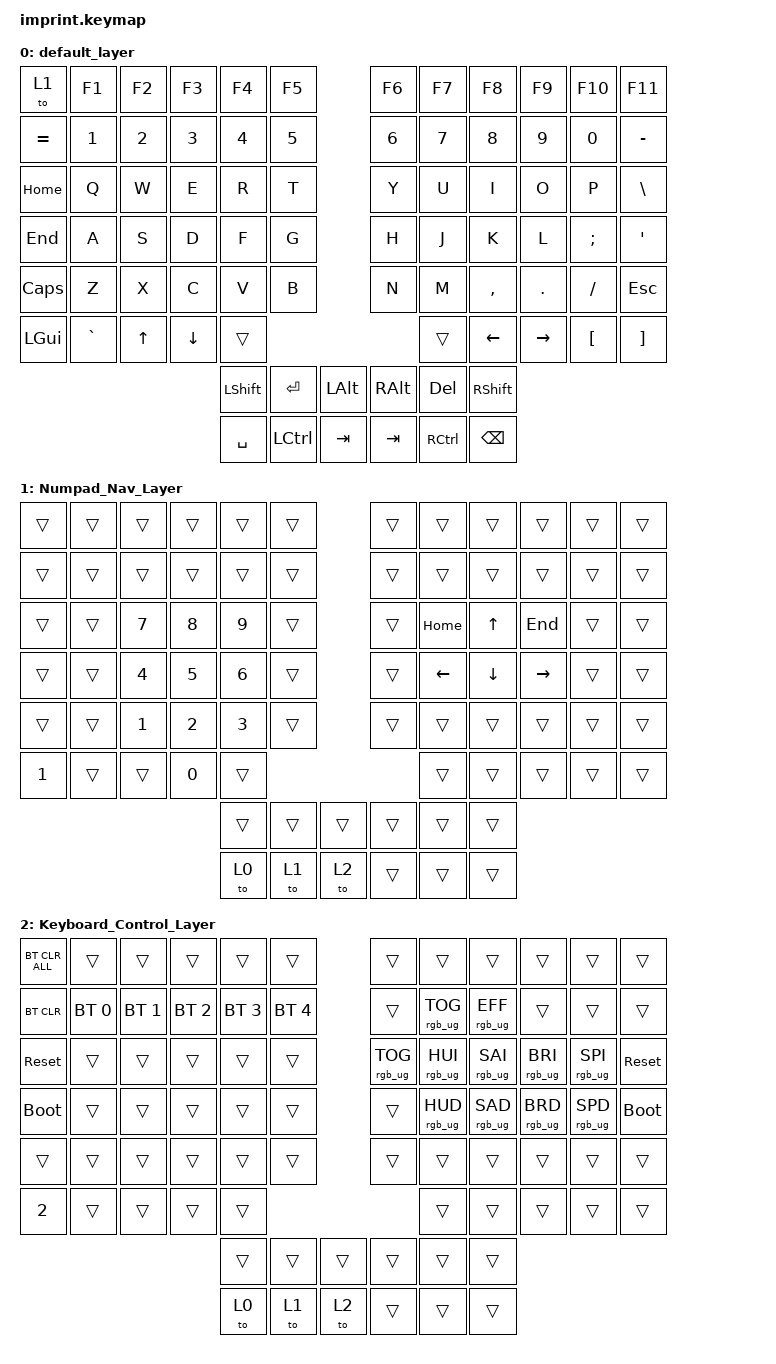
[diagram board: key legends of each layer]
#include <input/processors.dtsi>
#include <dt-bindings/zmk/input_transform.h>
#include <behaviors.dtsi>
#include <dt-bindings/zmk/bt.h>
#include <dt-bindings/zmk/keys.h>
#include <dt-bindings/zmk/rgb.h>

/ {
    chosen { zmk,matrix-transform = &imprint_function_row_full_bottom_row; };

    keymap {
        compatible = "zmk,keymap";

        default_layer {
            bindings = <
&to 1         &kp F1     &kp F2  &kp F3          &kp F4     &kp F5                 &kp F6    &kp F7      &kp F8         &kp F9     &kp F10           &kp F11
&kp EQUAL     &kp N1     &kp N2  &kp N3          &kp N4     &kp N5                 &kp N6    &kp N7      &kp N8         &kp N9     &kp N0            &kp MINUS
&kp HOME      &kp Q      &kp W   &kp E           &kp R      &kp T                  &kp Y     &kp U       &kp I          &kp O      &kp P             &kp BSLH
&kp END       &kp A      &kp S   &kp D           &kp F      &kp G                  &kp H     &kp J       &kp K          &kp L      &kp SEMI          &kp SQT
&kp CAPS      &kp Z      &kp X   &kp C           &kp V      &kp B                  &kp N     &kp M       &kp COMMA      &kp DOT    &kp FSLH          &kp ESCAPE
&kp LEFT_GUI  &kp GRAVE  &kp UP  &kp DOWN_ARROW  &trans                                      &trans      &kp LEFT       &kp RIGHT  &kp LEFT_BRACKET  &kp RIGHT_BRACKET
                                                 &kp LSHFT  &kp ENTER  &kp LALT    &kp RALT  &kp DELETE  &kp RSHIFT
                                                 &kp SPACE  &kp LCTRL  &kp TAB     &kp TAB   &kp RCTRL   &kp BACKSPACE
            >;
        };

        Numpad_Nav_Layer {
            bindings = <
&trans        &trans  &trans  &trans  &trans  &trans            &trans  &trans    &trans    &trans     &trans  &trans
&trans        &trans  &trans  &trans  &trans  &trans            &trans  &trans    &trans    &trans     &trans  &trans
&trans        &trans  &kp N7  &kp N8  &kp N9  &trans            &trans  &kp HOME  &kp UP    &kp END    &trans  &trans
&trans        &trans  &kp N4  &kp N5  &kp N6  &trans            &trans  &kp LEFT  &kp DOWN  &kp RIGHT  &trans  &trans
&trans        &trans  &kp N1  &kp N2  &kp N3  &trans            &trans  &trans    &trans    &trans     &trans  &trans
&kp NUMBER_1  &trans  &trans  &kp N0  &trans                            &trans    &trans    &trans     &trans  &trans
                                      &trans  &trans  &trans    &trans  &trans    &trans
                                      &to 0   &to 1   &to 2     &trans  &trans    &trans
            >;
        };

        Keyboard_Control_Layer {
            bindings = <
&bt BT_CLR_ALL  &trans        &trans        &trans        &trans        &trans                  &trans           &trans           &trans           &trans           &trans           &trans
&bt BT_CLR      &bt BT_SEL 0  &bt BT_SEL 1  &bt BT_SEL 2  &bt BT_SEL 3  &bt BT_SEL 4            &trans           &rgb_ug RGB_TOG  &rgb_ug RGB_EFF  &trans           &trans           &trans
&sys_reset      &trans        &trans        &trans        &trans        &trans                  &rgb_ug RGB_TOG  &rgb_ug RGB_HUI  &rgb_ug RGB_SAI  &rgb_ug RGB_BRI  &rgb_ug RGB_SPI  &sys_reset
&bootloader     &trans        &trans        &trans        &trans        &trans                  &trans           &rgb_ug RGB_HUD  &rgb_ug RGB_SAD  &rgb_ug RGB_BRD  &rgb_ug RGB_SPD  &bootloader
&trans          &trans        &trans        &trans        &trans        &trans                  &trans           &trans           &trans           &trans           &trans           &trans
&kp NUMBER_2    &trans        &trans        &trans        &trans                                                 &trans           &trans           &trans           &trans           &trans
                                                          &trans        &trans        &trans    &trans           &trans           &trans
                                                          &to 0         &to 1         &to 2     &trans           &trans           &trans
            >;
        };
    };
};

// right hand trackball configuration
// &trackball_peripheral_listener {
//    input-processors =
//     activate layer 3 within 500ms of the trackball moving
//     <&zip_temp_layer 3 500>;
// };
//left hand trackball configuration

&trackball_central_listener {
    input-processors =
        // multiply sensitivity by 1, divide by 3 (make it slower for scrolling),,,,,,,
        <&zip_xy_scaler 1 3>,
        // make this trackball output scrolling events by default instead of cursor movement,,,,,,,
        <&zip_xy_to_scroll_mapper>,
        // invert vertical scrolling so that the view moves in the same direction as the top of the trackball.,,,,,,,
        <&zip_scroll_transform INPUT_TRANSFORM_Y_INVERT>;
};
